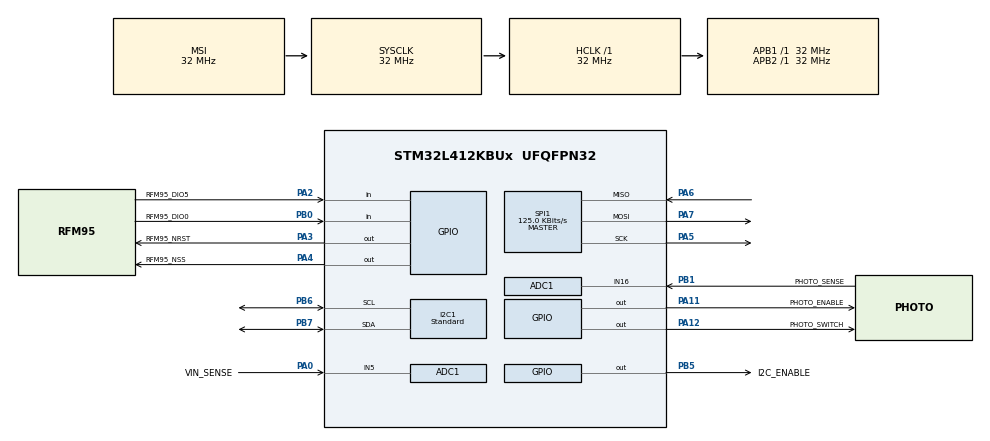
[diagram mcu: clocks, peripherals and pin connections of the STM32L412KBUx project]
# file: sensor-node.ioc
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Mcu.Family=STM32L4
PA0-CK_IN.GPIO_Label=VIN_SENSE
PA2.GPIO_PuPd=GPIO_PULLUP
PA6.Mode=Full_Duplex_Master
RCC.CortexFreq_Value=32000000
I2C1.I2C_Speed_Mode=I2C_Standard
SPI1.VirtualType=VM_MASTER
ADC1.SamplingTime-6\#ChannelRegularConversion=ADC_SAMPLETIME_2CYCLES_5
VP_RTC_VS_RTC_Activate.Mode=RTC_Enabled
PB0.GPIO_Label=RFM95_DIO0
ProjectManager.StackSize=0x400
SH.ADCx_IN16.0=ADC1_IN16,IN16-Single-Ended
PA14\ (JTCK/SWCLK).Signal=SYS_JTCK-SWCLK
PA12.Signal=GPIO_Output
SPI1.Direction=SPI_DIRECTION_2LINES
RCC.HCLKFreq_Value=32000000
RCC.FLatency=FLASH_LATENCY_1
RCC.APB2TimFreq_Value=32000000
PB6.Signal=I2C1_SCL
PB5.PinState=GPIO_PIN_SET
PB6.Mode=I2C
SPI1.CalculateBaudRate=125.0 KBits/s
RCC.HSICalibrationValue=16
RCC.AHBFreq_Value=32000000
RCC.HSE_VALUE=8000000
PA0-CK_IN.Signal=ADCx_IN5
ADC1.Channel-6\#ChannelRegularConversion=ADC_CHANNEL_16
PA13\ (JTMS/SWDIO).GPIO_Label=SWDIO
PB1.GPIO_Label=PHOTO_SENSE
SPI1.DataSize=SPI_DATASIZE_8BIT
PB7.Signal=I2C1_SDA
PA14\ (JTCK/SWCLK).Mode=Serial_Wire
PB6.GPIO_PuPdOD=GPIO_NOPULL
Mcu.Package=UFQFPN32
PA6.Signal=SPI1_MISO
PB1.Signal=ADCx_IN16
PA2.GPIO_Label=RFM95_DIO5
PA14\ (JTCK/SWCLK).GPIO_Label=SWCLK
PB5.GPIO_Label=I2C_ENABLE
RCC.APB1TimFreq_Value=32000000
PA12.GPIO_PuPd=GPIO_PULLDOWN
ADC1.Rank-6\#ChannelRegularConversion=1
SPI1.BaudRatePrescaler=SPI_BAUDRATEPRESCALER_256
PA4.GPIO_Label=RFM95_NSS
RCC.MSIClockRange=RCC_MSIRANGE_10
RCC.HSI48_VALUE=48000000
PA3.Signal=GPIO_Output
PA5.Mode=Full_Duplex_Master
RCC.MSI_VALUE=32000000
PA7.Mode=Full_Duplex_Master
PA13\ (JTMS/SWDIO).Mode=Serial_Wire
RTC.WakeUpClock=RTC_WAKEUPCLOCK_CK_SPRE_16BITS
PA11.GPIO_Label=PHOTO_ENABLE
PA12.GPIO_Label=PHOTO_SWITCH
PA4.PinState=GPIO_PIN_SET
ProjectManager.TargetToolchain=STM32CubeIDE
I2C1.Timing=0x00707CBB
RCC.USBFreq_Value=32000000
RCC.LSE_VALUE=32768
PA5.Signal=SPI1_SCK
board=NUCLEO-L412KB
RCC.VCOOutputFreq_Value=256000000
RCC.APB2Freq_Value=32000000
SPI1.Mode=SPI_MODE_MASTER
RCC.ADCFreq_Value=32000000
PB7.GPIO_PuPdOD=GPIO_NOPULL
ADC1.NbrOfConversion=1
Mcu.Name=STM32L412KBUx
SPI1.NSSPMode=SPI_NSS_PULSE_DISABLE
PA2.Signal=GPIO_Input
ADC1.OffsetNumber-6\#ChannelRegularConversion=ADC_OFFSET_NONE
PA4.Signal=GPIO_Output
RCC.SYSCLKFreq_VALUE=32000000
PB5.Signal=GPIO_Output
ADC1.master=1
PB7.Mode=I2C
PA11.Signal=GPIO_Output
ProjectManager.HeapSize=0x200
RCC.HSI_VALUE=16000000
VP_RTC_VS_RTC_WakeUp_intern.Mode=WakeUp
SH.ADCx_IN5.0=ADC1_IN5,IN5-Single-Ended
NVIC.PriorityGroup=NVIC_PRIORITYGROUP_4
ADC1.NbrOfConversionFlag=1
RCC.APB1Freq_Value=32000000
PB0.Signal=GPIO_Input
PB0.GPIO_PuPd=GPIO_PULLUP
PA13\ (JTMS/SWDIO).Signal=SYS_JTMS-SWDIO
PA3.GPIO_Label=RFM95_NRST
PA7.Signal=SPI1_MOSI

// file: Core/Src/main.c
/* USER CODE BEGIN Header */
/**
  ******************************************************************************
  * @file           : main.c
  * @brief          : Main program body
  ******************************************************************************
  * @attention
  *
  * <h2><center>&copy; Copyright (c) 2020 STMicroelectronics.
  * All rights reserved.</center></h2>
  *
  * This software component is licensed by ST under BSD 3-Clause license,
  * the "License"; You may not use this file except in compliance with the
  * License. You may obtain a copy of the License at:
  *                        opensource.org/licenses/BSD-3-Clause
  *
  ******************************************************************************
  */
/* USER CODE END Header */
#include "main.h"
#include "adc.h"
#include "i2c.h"
#include "rtc.h"
#include "spi.h"
#include "gpio.h"

/* USER CODE BEGIN Includes */
#include "application.h"
/* USER CODE END Includes */

void SystemClock_Config(void);

int main(void)
{

  /* MCU Configuration--------------------------------------------------------*/

  /* Reset of all peripherals, Initializes the Flash interface and the Systick. */
  HAL_Init();

  /* Configure the system clock */
  SystemClock_Config();

  /* USER CODE BEGIN SysInit */
  // Check and handle if the system was resumed from StandBy mode */
  if(__HAL_PWR_GET_FLAG(PWR_FLAG_SB) != RESET)
  {
  	// Clear Standby flag
  	__HAL_PWR_CLEAR_FLAG(PWR_FLAG_SB);
  }
  /* USER CODE END SysInit */

  /* Initialize all configured peripherals */
  MX_GPIO_Init();
  MX_I2C1_Init();
  MX_ADC1_Init();
  MX_RTC_Init();
  MX_SPI1_Init();
  /* USER CODE BEGIN 2 */

  application_main();

  HAL_PWREx_EnableGPIOPullDown(PWR_GPIO_A, PWR_GPIO_BIT_12); // PHOTO_SWITCH
  HAL_PWREx_EnableGPIOPullDown(PWR_GPIO_A, PWR_GPIO_BIT_7); // MOSI
  HAL_PWREx_EnableGPIOPullDown(PWR_GPIO_A, PWR_GPIO_BIT_5); // SCK
  HAL_PWREx_EnableGPIOPullUp(PWR_GPIO_A, PWR_GPIO_BIT_3); // NRST
  HAL_PWREx_EnableGPIOPullDown(PWR_GPIO_A, PWR_GPIO_BIT_4); // NSS
  HAL_PWREx_EnablePullUpPullDownConfig();
  HAL_PWREx_DisableSRAM2ContentRetention();
  HAL_PWREx_EnableBORPVD_ULP();

  // Disable all used wakeup sources
  HAL_RTCEx_DeactivateWakeUpTimer(&hrtc);

  // Clear all related wakeup flags
  __HAL_PWR_CLEAR_FLAG(PWR_FLAG_WU);

  // Setting the Wake up time 1s * 0x0E10 = 1h
  // 10min = 0x0258
  // 10 sec = 0x000a
  HAL_RTCEx_SetWakeUpTimer_IT(&hrtc, 0x0258, RTC_WAKEUPCLOCK_CK_SPRE_16BITS, 0);

  // Enter the Standby mode
  HAL_PWR_EnterSTANDBYMode();

  /* USER CODE END 2 */

  /* Infinite loop */
  while (1)
  {

  }
}

void SystemClock_Config(void)
{
  RCC_OscInitTypeDef RCC_OscInitStruct = {0};
  RCC_ClkInitTypeDef RCC_ClkInitStruct = {0};
  RCC_PeriphCLKInitTypeDef PeriphClkInit = {0};

  /** Configure the main internal regulator output voltage
  */
  if (HAL_PWREx_ControlVoltageScaling(PWR_REGULATOR_VOLTAGE_SCALE1) != HAL_OK)
  {
    Error_Handler();
  }
  /** Initializes the RCC Oscillators according to the specified parameters
  * in the RCC_OscInitTypeDef structure.
  */
  RCC_OscInitStruct.OscillatorType = RCC_OSCILLATORTYPE_LSI|RCC_OSCILLATORTYPE_MSI;
  RCC_OscInitStruct.LSIState = RCC_LSI_ON;
  RCC_OscInitStruct.MSIState = RCC_MSI_ON;
  RCC_OscInitStruct.MSICalibrationValue = 0;
  RCC_OscInitStruct.MSIClockRange = RCC_MSIRANGE_10;
  RCC_OscInitStruct.PLL.PLLState = RCC_PLL_NONE;
  if (HAL_RCC_OscConfig(&RCC_OscInitStruct) != HAL_OK)
  {
    Error_Handler();
  }
  /** Initializes the CPU, AHB and APB buses clocks
  */
  RCC_ClkInitStruct.ClockType = RCC_CLOCKTYPE_HCLK|RCC_CLOCKTYPE_SYSCLK
                              |RCC_CLOCKTYPE_PCLK1|RCC_CLOCKTYPE_PCLK2;
  RCC_ClkInitStruct.SYSCLKSource = RCC_SYSCLKSOURCE_MSI;
  RCC_ClkInitStruct.AHBCLKDivider = RCC_SYSCLK_DIV1;
  RCC_ClkInitStruct.APB1CLKDivider = RCC_HCLK_DIV1;
  RCC_ClkInitStruct.APB2CLKDivider = RCC_HCLK_DIV1;

  if (HAL_RCC_ClockConfig(&RCC_ClkInitStruct, FLASH_LATENCY_1) != HAL_OK)
  {
    Error_Handler();
  }
  PeriphClkInit.PeriphClockSelection = RCC_PERIPHCLK_RTC|RCC_PERIPHCLK_I2C1
                              |RCC_PERIPHCLK_ADC;
  PeriphClkInit.I2c1ClockSelection = RCC_I2C1CLKSOURCE_PCLK1;
  PeriphClkInit.RTCClockSelection = RCC_RTCCLKSOURCE_LSI;
  if (HAL_RCCEx_PeriphCLKConfig(&PeriphClkInit) != HAL_OK)
  {
    Error_Handler();
  }
}

void Error_Handler(void)
{
  __disable_irq();
  while (1)
  {
  }
}

/************************ (C) COPYRIGHT STMicroelectronics *****END OF FILE****/
